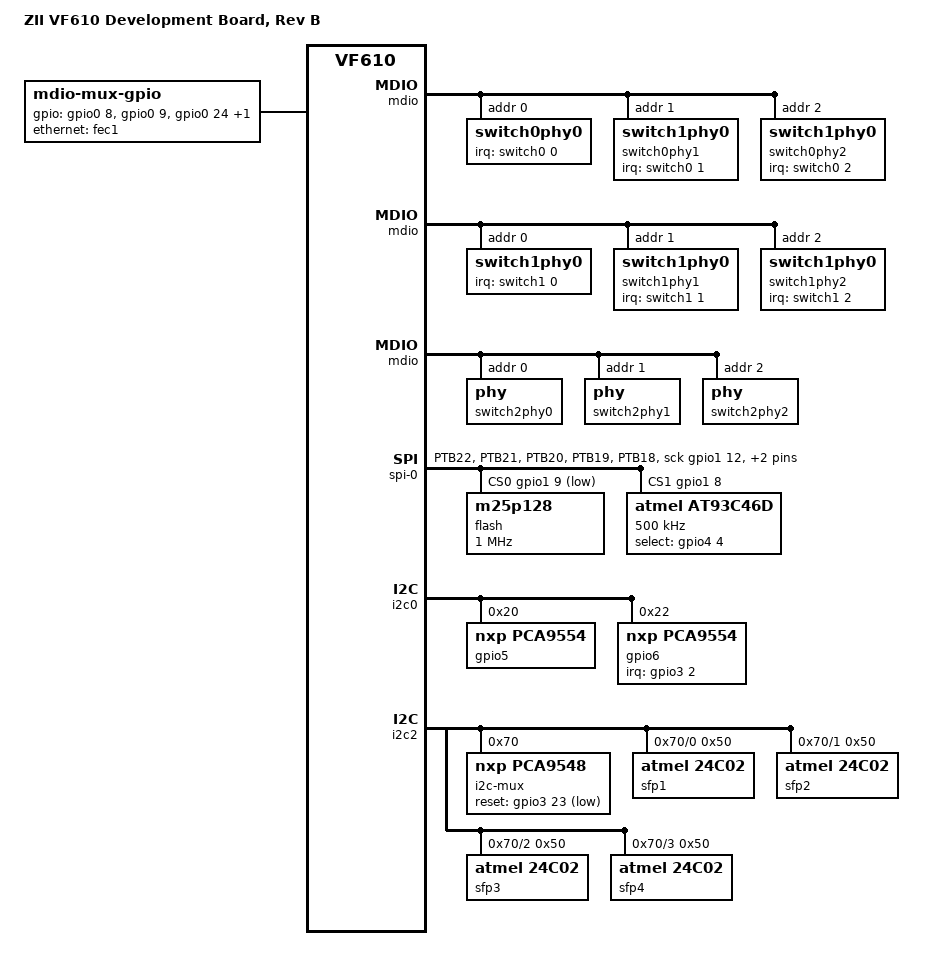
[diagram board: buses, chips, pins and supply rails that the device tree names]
// SPDX-License-Identifier: (GPL-2.0 OR MIT)
/*
 * Copyright (C) 2015, 2016 Zodiac Inflight Innovations
 */

/dts-v1/;
#include "vf610-zii-dev.dtsi"

/ {
	model = "ZII VF610 Development Board, Rev B";
	compatible = "zii,vf610dev-b", "zii,vf610dev", "fsl,vf610";

	mdio-mux {
		compatible = "mdio-mux-gpio";
		pinctrl-0 = <&pinctrl_mdio_mux>;
		pinctrl-names = "default";
		gpios = <&gpio0 8  GPIO_ACTIVE_HIGH
			 &gpio0 9  GPIO_ACTIVE_HIGH
			 &gpio0 24 GPIO_ACTIVE_HIGH
			 &gpio0 25 GPIO_ACTIVE_HIGH>;
		mdio-parent-bus = <&mdio1>;
		#address-cells = <1>;
		#size-cells = <0>;

		mdio_mux_1: mdio@1 {
			reg = <1>;
			#address-cells = <1>;
			#size-cells = <0>;

			switch0: switch@0 {
				compatible = "marvell,mv88e6085";
				pinctrl-0 = <&pinctrl_gpio_switch0>;
				pinctrl-names = "default";
				reg = <0>;
				dsa,member = <0 0>;
				interrupt-parent = <&gpio0>;
				interrupts = <27 IRQ_TYPE_LEVEL_LOW>;
				interrupt-controller;
				#interrupt-cells = <2>;
				eeprom-length = <512>;

				ports {
					#address-cells = <1>;
					#size-cells = <0>;

					port@0 {
						reg = <0>;
						label = "lan0";
						phy-handle = <&switch0phy0>;
					};

					port@1 {
						reg = <1>;
						label = "lan1";
						phy-handle = <&switch0phy1>;
					};

					port@2 {
						reg = <2>;
						label = "lan2";
						phy-handle = <&switch0phy2>;
					};

					switch0port5: port@5 {
						reg = <5>;
						label = "dsa";
						phy-mode = "rgmii-txid";
						link = <&switch1port6
							&switch2port9>;
						fixed-link {
							speed = <1000>;
							full-duplex;
						};
					};

					port@6 {
						reg = <6>;
						phy-mode = "rmii";
						ethernet = <&fec1>;

						fixed-link {
							speed = <100>;
							full-duplex;
						};
					};
				};
				mdio {
					#address-cells = <1>;
					#size-cells = <0>;
					switch0phy0: switch0phy0@0 {
						reg = <0>;
						interrupt-parent = <&switch0>;
						interrupts = <0 IRQ_TYPE_LEVEL_HIGH>;
					};
					switch0phy1: switch1phy0@1 {
						reg = <1>;
						interrupt-parent = <&switch0>;
						interrupts = <1 IRQ_TYPE_LEVEL_HIGH>;
					};
					switch0phy2: switch1phy0@2 {
						reg = <2>;
						interrupt-parent = <&switch0>;
						interrupts = <2 IRQ_TYPE_LEVEL_HIGH>;
					};
				};
			};
		};

		mdio_mux_2: mdio@2 {
			reg = <2>;
			#address-cells = <1>;
			#size-cells = <0>;

			switch1: switch@0 {
				compatible = "marvell,mv88e6085";
				pinctrl-0 = <&pinctrl_gpio_switch1>;
				pinctrl-names = "default";
				reg = <0>;
				dsa,member = <0 1>;
				interrupt-parent = <&gpio0>;
				interrupts = <26 IRQ_TYPE_LEVEL_LOW>;
				interrupt-controller;
				#interrupt-cells = <2>;
				eeprom-length = <512>;

				ports {
					#address-cells = <1>;
					#size-cells = <0>;

					port@0 {
						reg = <0>;
						label = "lan3";
						phy-handle = <&switch1phy0>;
					};

					port@1 {
						reg = <1>;
						label = "lan4";
						phy-handle = <&switch1phy1>;
					};

					port@2 {
						reg = <2>;
						label = "lan5";
						phy-handle = <&switch1phy2>;
					};

					switch1port5: port@5 {
						reg = <5>;
						label = "dsa";
						link = <&switch2port9>;
						phy-mode = "1000base-x";

						fixed-link {
							speed = <1000>;
							full-duplex;
						};
					};

					switch1port6: port@6 {
						reg = <6>;
						label = "dsa";
						phy-mode = "rgmii-txid";
						link = <&switch0port5>;
						fixed-link {
							speed = <1000>;
							full-duplex;
						};
					};
				};
				mdio {
					#address-cells = <1>;
					#size-cells = <0>;

					switch1phy0: switch1phy0@0 {
						reg = <0>;
						interrupt-parent = <&switch1>;
						interrupts = <0 IRQ_TYPE_LEVEL_HIGH>;
					};

					switch1phy1: switch1phy0@1 {
						reg = <1>;
						interrupt-parent = <&switch1>;
						interrupts = <1 IRQ_TYPE_LEVEL_HIGH>;
					};

					switch1phy2: switch1phy0@2 {
						reg = <2>;
						interrupt-parent = <&switch1>;
						interrupts = <2 IRQ_TYPE_LEVEL_HIGH>;
					};
				};
			};
		};

		mdio_mux_4: mdio@4 {
			#address-cells = <1>;
			#size-cells = <0>;
			reg = <4>;

			switch2: switch@0 {
				compatible = "marvell,mv88e6085";
				reg = <0>;
				dsa,member = <0 2>;

				ports {
					#address-cells = <1>;
					#size-cells = <0>;

					port@0 {
						reg = <0>;
						label = "lan6";
						phy-handle = <&switch2phy0>;
						phy-mode = "sgmii";
					};

					port@1 {
						reg = <1>;
						label = "lan7";
						phy-handle = <&switch2phy1>;
						phy-mode = "sgmii";
					};

					port@2 {
						reg = <2>;
						label = "lan8";
						phy-handle = <&switch2phy2>;
					};

					port@3 {
						reg = <3>;
						label = "optical3";

						fixed-link {
							speed = <1000>;
							full-duplex;
							link-gpios = <&gpio6 2
							      GPIO_ACTIVE_HIGH>;
						};
					};

					port@4 {
						reg = <4>;
						label = "optical4";

						fixed-link {
							speed = <1000>;
							full-duplex;
							link-gpios = <&gpio6 3
							      GPIO_ACTIVE_HIGH>;
						};
					};

					switch2port9: port@9 {
						reg = <9>;
						label = "dsa";
						phy-mode = "1000base-x";
						link = <&switch1port5
							&switch0port5>;

						fixed-link {
							speed = <1000>;
							full-duplex;
						};
					};
				};
				mdio {
					#address-cells = <1>;
					#size-cells = <0>;

					switch2phy0: phy@0 {
						reg = <0>;
					};
					switch2phy1: phy@1 {
						reg = <1>;
					};
					switch2phy2: phy@2 {
						reg = <2>;
					};
				};
			};
		};

		mdio_mux_8: mdio@8 {
			reg = <8>;
			#address-cells = <1>;
			#size-cells = <0>;
		};
	};

	spi-0 {
		compatible = "spi-gpio";
		pinctrl-0 = <&pinctrl_gpio_spi0>;
		pinctrl-names = "default";
		#address-cells = <1>;
		#size-cells = <0>;
		sck-gpios  = <&gpio1 12 GPIO_ACTIVE_HIGH>;
		mosi-gpios = <&gpio1 11 GPIO_ACTIVE_HIGH>;
		miso-gpios = <&gpio1 10 GPIO_ACTIVE_HIGH>;
		cs-gpios  = <&gpio1  9 GPIO_ACTIVE_LOW
			     &gpio1  8 GPIO_ACTIVE_HIGH>;
		num-chipselects = <2>;

		flash@0 {
			compatible = "m25p128", "jedec,spi-nor";
			#address-cells = <1>;
			#size-cells = <1>;
			reg = <0>;
			spi-max-frequency = <1000000>;
		};

		at93c46d@1 {
			compatible = "atmel,at93c46d";
			pinctrl-0 = <&pinctrl_gpio_e6185_eeprom_sel>;
			pinctrl-names = "default";
			reg = <1>;
			spi-max-frequency = <500000>;
			spi-cs-high;
			data-size = <16>;
			select-gpios = <&gpio4 4 GPIO_ACTIVE_HIGH>;
		};
	};
};

&i2c0 {
	gpio5: io-expander@20 {
		compatible = "nxp,pca9554";
		reg = <0x20>;
		gpio-controller;
		#gpio-cells = <2>;

	};

	gpio6: io-expander@22 {
		compatible = "nxp,pca9554";
		pinctrl-names = "default";
		pinctrl-0 = <&pinctrl_pca9554_22>;
		reg = <0x22>;
		gpio-controller;
		#gpio-cells = <2>;
		interrupt-controller;
		interrupt-parent = <&gpio3>;
		interrupts = <2 IRQ_TYPE_LEVEL_LOW>;
	};
};

&i2c2 {
	i2c-mux@70 {
		compatible = "nxp,pca9548";
		pinctrl-0 = <&pinctrl_i2c_mux_reset>;
		pinctrl-names = "default";
		#address-cells = <1>;
		#size-cells = <0>;
		reg = <0x70>;
		reset-gpios = <&gpio3 23 GPIO_ACTIVE_LOW>;

		i2c@0 {
			#address-cells = <1>;
			#size-cells = <0>;
			reg = <0>;

			sfp1: eeprom@50 {
				compatible = "atmel,24c02";
				reg = <0x50>;
			};
		};

		i2c@1 {
			#address-cells = <1>;
			#size-cells = <0>;
			reg = <1>;

			sfp2: eeprom@50 {
				compatible = "atmel,24c02";
				reg = <0x50>;
			};
		};

		i2c@2 {
			#address-cells = <1>;
			#size-cells = <0>;
			reg = <2>;

			sfp3: eeprom@50 {
				compatible = "atmel,24c02";
				reg = <0x50>;
			};
		};

		i2c@3 {
			#address-cells = <1>;
			#size-cells = <0>;
			reg = <3>;

			sfp4: eeprom@50 {
				compatible = "atmel,24c02";
				reg = <0x50>;
			};
		};

		i2c@4 {
			#address-cells = <1>;
			#size-cells = <0>;
			reg = <4>;
		};
	};
};

&mdio1 {
	clock-frequency = <5000000>;
};

&iomuxc {
	pinctrl_gpio_e6185_eeprom_sel: pinctrl-gpio-e6185-eeprom-spi0 {
		fsl,pins = <
			VF610_PAD_PTE27__GPIO_132	0x33e2
		>;
	};

	pinctrl_gpio_spi0: pinctrl-gpio-spi0 {
		fsl,pins = <
			VF610_PAD_PTB22__GPIO_44	0x33e2
			VF610_PAD_PTB21__GPIO_43	0x33e2
			VF610_PAD_PTB20__GPIO_42	0x33e1
			VF610_PAD_PTB19__GPIO_41	0x33e2
			VF610_PAD_PTB18__GPIO_40	0x33e2
		>;
	};

	pinctrl_mdio_mux: pinctrl-mdio-mux {
		fsl,pins = <
			VF610_PAD_PTA18__GPIO_8		0x31c2
			VF610_PAD_PTA19__GPIO_9		0x31c2
			VF610_PAD_PTB2__GPIO_24		0x31c2
			VF610_PAD_PTB3__GPIO_25		0x31c2
		>;
	};

	pinctrl_pca9554_22: pinctrl-pca95540-22 {
		fsl,pins = <
			VF610_PAD_PTB28__GPIO_98	0x219d
		>;
	};
};
